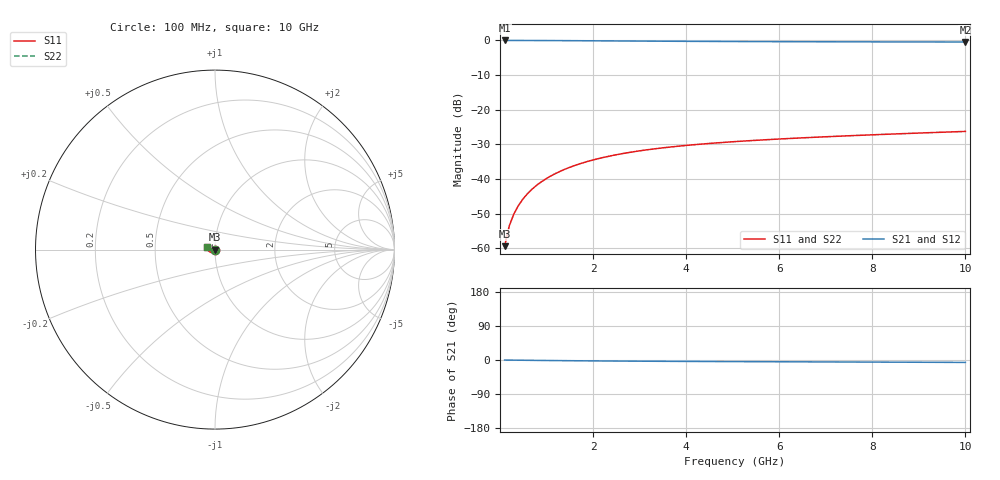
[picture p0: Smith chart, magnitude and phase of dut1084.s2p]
! Touchstone file exported from HFSS 2024.1.0
!  File:  C:/UserFiles/LocalFiles/RDL_TSV_Batchsim/temp_TSV1_1084_1780065789.aedt
!  Generated:  10:49:03 PM May 29, 2026
!  Design:  TSV1
!  Project:  temp_TSV1_1084_1780065789
!  Setup:  Setup1
!  Solution:  Sweep
! Variables:
!  dtsv = 7.65um
!  hbump = 3um
!  htsv = 99.32um
!  lrdl = 252.1521522um
!  p = 40
!  p1 = 51.53um
!  t = 500um
!  trdl = 3um
!  wrdl = 24.89489489um
# GHz S MA R 50.000000
! Terminal data exported
! Port[1] = TSV22_T1
! Port[2] = TSV22_T2
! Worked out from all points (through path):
!   100 points, 100 MHz to 10 GHz, reference 50 ohm
!   highest |S21| = 0.00 dB at 100 MHz (marker M1); lowest = -0.4 dB at 10 GHz (marker M2)
!   lowest |S11| = -59.3 dB at 100 MHz (marker M3), VSWR 1.00, Z = 50 - j0.105 ohm
!   |S11| at or under -10 dB: start of sweep to end of sweep
!   |S22| runs from -59.3 to -26.2 dB; largest |S21 - S12| = 9.9e-15
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0.1  0.00108 -76.8  0.9997 -0.1  0.9997 -0.1  0.00108 -76.8
! Gamma 0 0 0 0
! Port Impedance 50 0 50 0
0.2  0.002116 -86.1  0.9996 -0.3  0.9996 -0.3  0.002116 -86.1
0.3  0.003159 -90.6  0.9994 -0.4  0.9994 -0.4  0.003159 -90.6
0.4  0.004199 -93.9  0.9991 -0.5  0.9991 -0.5  0.004199 -93.9
0.5  0.005232 -96.7  0.9988 -0.7  0.9988 -0.7  0.005232 -96.7
0.6  0.006256 -99.1  0.9984 -0.8  0.9984 -0.8  0.006256 -99.1
0.7  0.007269 -101.4  0.9979 -0.9  0.9979 -0.9  0.007269 -101.4
0.8  0.00827 -103.7  0.9974 -1.1  0.9974 -1.1  0.00827 -103.7
0.9  0.009256 -105.8  0.9968 -1.2  0.9968 -1.2  0.009256 -105.8
1.1  0.01118 -109.9  0.9955 -1.4  0.9955 -1.4  0.01118 -109.9
1.4  0.01394 -115.7  0.9933 -1.8  0.9933 -1.8  0.01394 -115.7
1.6  0.01567 -119.3  0.9916 -2.0  0.9916 -2.0  0.01567 -119.3
1.8  0.01733 -122.9  0.9899 -2.2  0.9899 -2.2  0.01733 -122.9
2.1  0.01966 -128.0  0.9872 -2.4  0.9872 -2.4  0.01966 -128.0
2.5  0.02248 -134.3  0.9836 -2.8  0.9836 -2.8  0.02248 -134.3
2.9  0.02499 -140.2  0.98 -3.1  0.98 -3.1  0.02499 -140.2
3.4  0.02776 -147.0  0.9759 -3.4  0.9759 -3.4  0.02776 -147.0
4.2  0.03148 -156.7  0.97 -3.8  0.97 -3.8  0.03148 -156.7
5.1  0.03494 -166.1  0.9647 -4.3  0.9647 -4.3  0.03494 -166.1
6.7  0.03998 -179.8  0.9578 -5.0  0.9578 -5.0  0.03998 -179.8
8.4  0.04462 168.4  0.9529 -5.7  0.9529 -5.7  0.04462 168.4
10  0.04877 159.3  0.9497 -6.4  0.9497 -6.4  0.04876 159.3
